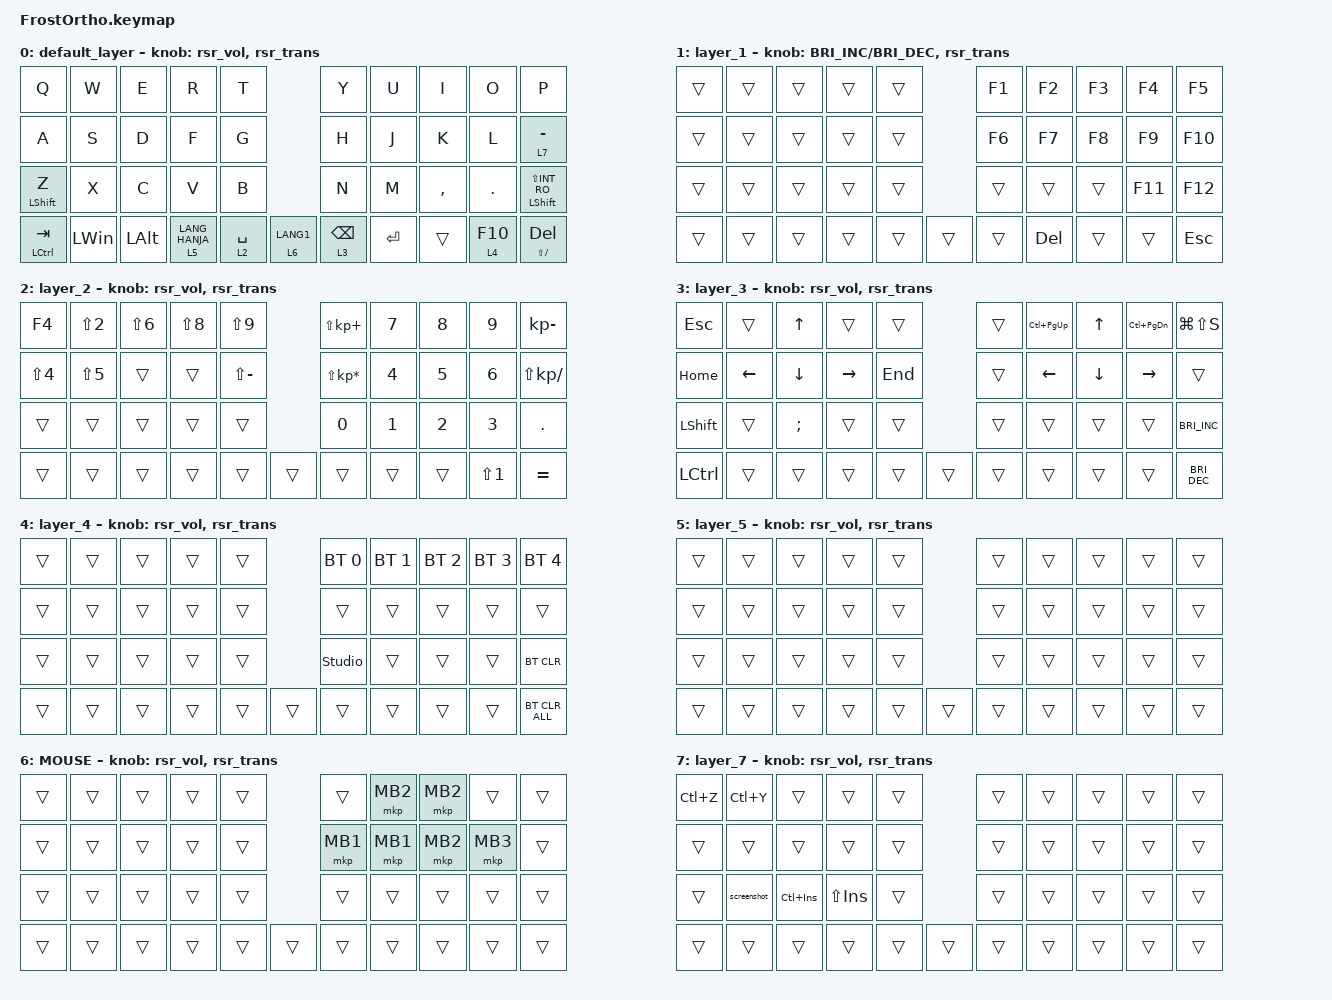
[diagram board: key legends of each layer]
#include <input/processors.dtsi>
#include <behaviors/runtime-sensor-rotate.dtsi>
#include <behaviors/runtime-sensor-rotate.dtsi>
#include <behaviors.dtsi>
#include <dt-bindings/zmk/bt.h>
#include <dt-bindings/zmk/keys.h>
#include <dt-bindings/zmk/pointing.h>

#define MOUSE 6

&mt {
    flavor = "tap-preferred";
    tapping-term-ms = <200>;
};

/ {
    combos {
        compatible = "zmk,combos";

        esc {
            bindings = <&kp ESCAPE>;
            key-positions = <0 1>;
        };

        tab {
            bindings = <&kp TAB>;
            key-positions = <10 11>;
        };

        del {
            bindings = <&kp DELETE>;
            key-positions = <8 9>;
        };
    };

    macros {
        to_layer_0: to_layer_0 {
            compatible = "zmk,behavior-macro-one-param";
            #binding-cells = <1>;
            bindings = <&to 0 &macro_param_1to1 &kp MACRO_PLACEHOLDER>;
            label = "TO_LAYER_0";
        };

        screenshot: screenshot {
            compatible = "zmk,behavior-macro";
            #binding-cells = <0>;
            bindings =
                <&to 7>,
                <&macro_press>,
                <&kp LEFT_WIN &kp LEFT_SHIFT &kp S>,
                <&macro_release>,
                <&kp LEFT_WIN &kp LEFT_SHIFT &kp S>;

            label = "SCREENSHOT";
        };
    };

    behaviors {
        lt_to_layer_0: lt_to_layer_0 {
            compatible = "zmk,behavior-hold-tap";
            label = "LAYER_TAP_TO_0";
            bindings = <&mo>, <&to_layer_0>;

            #binding-cells = <2>;
            tapping-term-ms = <300>;
        };

        // Kyemap Editor用

        scroll_up_down: behavior_sensor_rotate_mouse_wheel_up_down {
            compatible = "zmk,behavior-sensor-rotate";
            #sensor-binding-cells = <0>;
            tap-ms = <20>;
            bindings = <&msc SCRL_UP>, <&msc SCRL_DOWN>;
        };

        vol_up_down: vol_up_down {
            compatible = "zmk,behavior-sensor-rotate";
            #sensor-binding-cells = <0>;
            tap-ms = <5>;
            bindings = <&kp C_VOL_DN>, <&kp C_VOL_UP>;
        };

        // DYA Studio用

        rsr_vol: rsr_vol {
            compatible = "zmk,behavior-runtime-sensor-rotate";
            #sensor-binding-cells = <0>;
            tap-ms = <5>;
            cw-binding = <&kp C_VOL_DN>;
            ccw-binding = <&kp C_VOL_UP>;
        };
    };

    keymap {
        compatible = "zmk,keymap";

        default_layer {
            bindings = <
&kp Q                 &kp W         &kp E         &kp R             &kp T                         &kp Y            &kp U      &kp I      &kp O       &kp P
&kp A                 &kp S         &kp D         &kp F             &kp G                         &kp H            &kp J      &kp K      &kp L       &lt 7 MINUS
&mt LEFT_SHIFT Z      &kp X         &kp C         &kp V             &kp B                         &kp N            &kp M      &kp COMMA  &kp PERIOD  &mt LEFT_SHIFT LS(INT_RO)
&mt LEFT_CONTROL TAB  &kp LEFT_WIN  &kp LEFT_ALT  &lt 5 LANG_HANJA  &lt 2 SPACE  &lt 6 LANG1      &lt 3 BACKSPACE  &kp ENTER  &trans     &lt 4 F10   &mt LS(SLASH) DELETE
            >;

            sensor-bindings = <&rsr_vol &rsr_trans>;
        };

        layer_1 {
            bindings = <
&trans  &trans  &trans  &trans  &trans              &kp F1  &kp F2   &kp F3  &kp F4   &kp F5
&trans  &trans  &trans  &trans  &trans              &kp F6  &kp F7   &kp F8  &kp F9   &kp F10
&trans  &trans  &trans  &trans  &trans              &trans  &trans   &trans  &kp F11  &kp F12
&trans  &trans  &trans  &trans  &trans  &trans      &trans  &kp DEL  &trans  &trans   &kp ESCAPE
            >;

            sensor-bindings = <&inc_dec_kp C_BRI_INC C_BRI_DEC>, <&rsr_trans>;
        };

        layer_2 {
            bindings = <
&kp F4      &kp LS(N2)  &kp LS(N6)  &kp LS(N8)  &kp LS(N9)                 &kp LS(KP_PLUS)      &kp N7  &kp N8  &kp N9            &kp KP_MINUS
&kp LS(N4)  &kp LS(N5)  &trans      &trans      &kp LS(MINUS)              &kp LS(KP_MULTIPLY)  &kp N4  &kp N5  &kp N6            &kp LS(KP_SLASH)
&trans      &trans      &trans      &trans      &trans                     &kp N0               &kp N1  &kp N2  &kp N3            &kp DOT
&trans      &trans      &trans      &trans      &trans         &trans      &trans               &trans  &trans  &kp LS(NUMBER_1)  &kp EQUAL
            >;

            sensor-bindings = <&rsr_vol &rsr_trans>;
        };

        layer_3 {
            bindings = <
&kp ESCAPE        &trans          &kp UP_ARROW    &trans           &trans               &trans  &kp LC(PAGE_UP)  &kp UP_ARROW    &kp LC(PAGE_DOWN)  &kp LG(LS(S))
&kp HOME          &kp LEFT_ARROW  &kp DOWN_ARROW  &kp RIGHT_ARROW  &kp END              &trans  &kp LEFT_ARROW   &kp DOWN_ARROW  &kp RIGHT_ARROW    &trans
&kp LEFT_SHIFT    &trans          &kp SEMI        &trans           &trans               &trans  &trans           &trans          &trans             &kp C_BRI_INC
&kp LEFT_CONTROL  &trans          &trans          &trans           &trans   &trans      &trans  &trans           &trans          &trans             &kp C_BRIGHTNESS_DEC
            >;

            sensor-bindings = <&rsr_vol &rsr_trans>;
        };

        layer_4 {
            bindings = <
&trans  &trans  &trans  &trans  &trans              &bt BT_SEL 0    &bt BT_SEL 1  &bt BT_SEL 2  &bt BT_SEL 3  &bt BT_SEL 4
&trans  &trans  &trans  &trans  &trans              &trans          &trans        &trans        &trans        &trans
&trans  &trans  &trans  &trans  &trans              &studio_unlock  &trans        &trans        &trans        &bt BT_CLR
&trans  &trans  &trans  &trans  &trans  &trans      &trans          &trans        &trans        &trans        &bt BT_CLR_ALL
            >;

            sensor-bindings = <&rsr_vol &rsr_trans>;
        };

        layer_5 {
            bindings = <
&trans  &trans  &trans  &trans  &trans              &trans  &trans  &trans  &trans  &trans
&trans  &trans  &trans  &trans  &trans              &trans  &trans  &trans  &trans  &trans
&trans  &trans  &trans  &trans  &trans              &trans  &trans  &trans  &trans  &trans
&trans  &trans  &trans  &trans  &trans  &trans      &trans  &trans  &trans  &trans  &trans
            >;

            sensor-bindings = <&rsr_vol &rsr_trans>;
        };

        MOUSE {
            bindings = <
&trans  &trans  &trans  &trans  &trans              &trans    &mkp MB2  &mkp MB2  &trans    &trans
&trans  &trans  &trans  &trans  &trans              &mkp MB1  &mkp MB1  &mkp MB2  &mkp MB3  &trans
&trans  &trans  &trans  &trans  &trans              &trans    &trans    &trans    &trans    &trans
&trans  &trans  &trans  &trans  &trans  &trans      &trans    &trans    &trans    &trans    &trans
            >;

            sensor-bindings = <&rsr_vol &rsr_trans>;
        };

        layer_7 {
            bindings = <
&kp LC(Z)  &kp LC(Y)    &trans       &trans       &trans              &trans  &trans  &trans  &trans  &trans
&trans     &trans       &trans       &trans       &trans              &trans  &trans  &trans  &trans  &trans
&trans     &screenshot  &kp LC(INS)  &kp LS(INS)  &trans              &trans  &trans  &trans  &trans  &trans
&trans     &trans       &trans       &trans       &trans  &trans      &trans  &trans  &trans  &trans  &trans
            >;

            sensor-bindings = <&rsr_vol &rsr_trans>;
        };
    };
};
